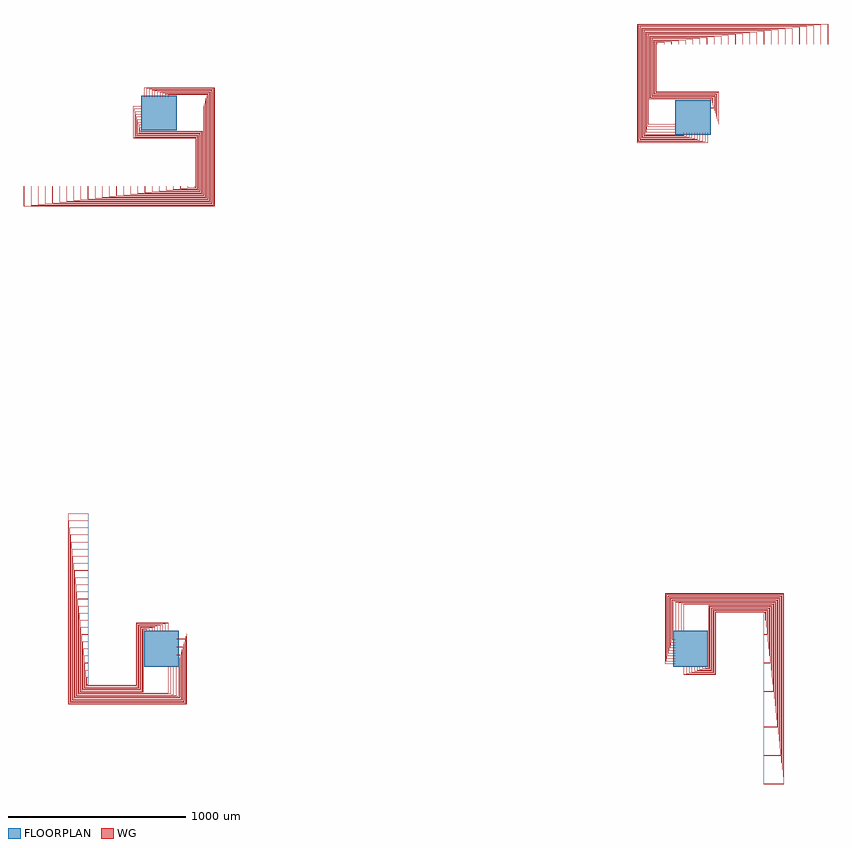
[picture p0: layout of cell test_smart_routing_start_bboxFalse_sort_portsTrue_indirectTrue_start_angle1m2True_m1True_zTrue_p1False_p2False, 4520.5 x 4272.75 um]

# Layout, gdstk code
import gdstk
lib = gdstk.Library(unit=1e-6, precision=1e-09)
def R(c, l, rs):  # rectangles x0, y0, x1, y1
    for r in rs: c.add(gdstk.rectangle(r[:2], r[2:], *l))
def P(c, l, *ps):  # polygons
    for p in ps: c.add(gdstk.Polygon(p, *l))
WG = (1, 0)
FLOORPLAN = (10, 0)

test_smart_routing_start = lib.new_cell('test_smart_routing_start_bboxFalse_sort_portsTrue_indirectTrue_start_angle1m2True_m1True_zTrue_p1False_p2False')
P(test_smart_routing_start, WG, [(199.75,2595.5),(199.75,2600),(200.25,2600),(200.25,2596),(204.25,2596),(204.25,2869.75),(-145,2869.75),(-145,3050.25),(-100,3050.25),(-100,3049.75),(-144.5,3049.75),(-144.5,2870.25),(204.75,2870.25),(204.75,2595.5)],
  [(159.75,2591),(159.75,2600),(160.25,2600),(160.25,2591.5),(208.75,2591.5),(208.75,2874.25),(-140.5,2874.25),(-140.5,3035.25),(-100,3035.25),(-100,3034.75),(-140,3034.75),(-140,2874.75),(209.25,2874.75),(209.25,2591)],
  [(119.75,2586.5),(119.75,2600),(120.25,2600),(120.25,2587),(213.25,2587),(213.25,2878.75),(-136,2878.75),(-136,3020.25),(-100,3020.25),(-100,3019.75),(-135.5,3019.75),(-135.5,2879.25),(213.75,2879.25),(213.75,2586.5)],
  [(79.75,2582),(79.75,2600),(80.25,2600),(80.25,2582.5),(217.75,2582.5),(217.75,2883.25),(-131.5,2883.25),(-131.5,3005.25),(-100,3005.25),(-100,3004.75),(-131,3004.75),(-131,2883.75),(218.25,2883.75),(218.25,2582)],
  [(39.75,2577.5),(39.75,2600),(40.25,2600),(40.25,2578),(222.25,2578),(222.25,2887.75),(-127,2887.75),(-127,2990.25),(-100,2990.25),(-100,2989.75),(-126.5,2989.75),(-126.5,2888.25),(222.75,2888.25),(222.75,2577.5)],
  [(-0.25,2573),(-0.25,2600),(0.25,2600),(0.25,2573.5),(226.75,2573.5),(226.75,2892.25),(-122.5,2892.25),(-122.5,2975.25),(-100,2975.25),(-100,2974.75),(-122,2974.75),(-122,2892.75),(227.25,2892.75),(227.25,2573)],
  [(-40.25,2568.5),(-40.25,2600),(-39.75,2600),(-39.75,2569),(231.25,2569),(231.25,2896.75),(-118,2896.75),(-118,2960.25),(-100,2960.25),(-100,2959.75),(-117.5,2959.75),(-117.5,2897.25),(231.75,2897.25),(231.75,2568.5)],
  [(-80.25,2564),(-80.25,2600),(-79.75,2600),(-79.75,2564.5),(235.75,2564.5),(235.75,2901.25),(-113.5,2901.25),(-113.5,2945.25),(-100,2945.25),(-100,2944.75),(-113,2944.75),(-113,2901.75),(236.25,2901.75),(236.25,2564)],
  [(-120.25,2559.5),(-120.25,2600),(-119.75,2600),(-119.75,2560),(240.25,2560),(240.25,2905.75),(-109,2905.75),(-109,2930.25),(-100,2930.25),(-100,2929.75),(-108.5,2929.75),(-108.5,2906.25),(240.75,2906.25),(240.75,2559.5)],
  [(-160.25,2555),(-160.25,2600),(-159.75,2600),(-159.75,2555.5),(244.75,2555.5),(244.75,2910.25),(-104.5,2910.25),(-104.5,2915.25),(-100,2915.25),(-100,2914.75),(-104,2914.75),(-104,2910.75),(245.25,2910.75),(245.25,2555)],
  [(-200.25,2550.5),(-200.25,2600),(-199.75,2600),(-199.75,2551),(249.25,2551),(249.25,3049.75),(100,3049.75),(100,3050.25),(249.75,3050.25),(249.75,2550.5)],
  [(-240.25,2546),(-240.25,2600),(-239.75,2600),(-239.75,2546.5),(253.75,2546.5),(253.75,3064.75),(100,3064.75),(100,3065.25),(254.25,3065.25),(254.25,2546)],
  [(-280.25,2541.5),(-280.25,2600),(-279.75,2600),(-279.75,2542),(258.25,2542),(258.25,3079.75),(100,3079.75),(100,3080.25),(258.75,3080.25),(258.75,2541.5)],
  [(-320.25,2537),(-320.25,2600),(-319.75,2600),(-319.75,2537.5),(262.75,2537.5),(262.75,3094.75),(100,3094.75),(100,3095.25),(263.25,3095.25),(263.25,2537)],
  [(-360.25,2532.5),(-360.25,2600),(-359.75,2600),(-359.75,2533),(267.25,2533),(267.25,3109.75),(100,3109.75),(100,3110.25),(267.75,3110.25),(267.75,2532.5)],
  [(-400.25,2528),(-400.25,2600),(-399.75,2600),(-399.75,2528.5),(271.75,2528.5),(271.75,3114.25),(50.25,3114.25),(50.25,3100),(49.75,3100),(49.75,3114.75),(272.25,3114.75),(272.25,2528)],
  [(-440.25,2523.5),(-440.25,2600),(-439.75,2600),(-439.75,2524),(276.25,2524),(276.25,3118.75),(35.25,3118.75),(35.25,3100),(34.75,3100),(34.75,3119.25),(276.75,3119.25),(276.75,2523.5)],
  [(-480.25,2519),(-480.25,2600),(-479.75,2600),(-479.75,2519.5),(280.75,2519.5),(280.75,3123.25),(20.25,3123.25),(20.25,3100),(19.75,3100),(19.75,3123.75),(281.25,3123.75),(281.25,2519)],
  [(-520.25,2514.5),(-520.25,2600),(-519.75,2600),(-519.75,2515),(285.25,2515),(285.25,3127.75),(5.25,3127.75),(5.25,3100),(4.75,3100),(4.75,3128.25),(285.75,3128.25),(285.75,2514.5)],
  [(-560.25,2510),(-560.25,2600),(-559.75,2600),(-559.75,2510.5),(289.75,2510.5),(289.75,3132.25),(-9.75,3132.25),(-9.75,3100),(-10.25,3100),(-10.25,3132.75),(290.25,3132.75),(290.25,2510)],
  [(-600.25,2505.5),(-600.25,2600),(-599.75,2600),(-599.75,2506),(294.25,2506),(294.25,3136.75),(-24.75,3136.75),(-24.75,3100),(-25.25,3100),(-25.25,3137.25),(294.75,3137.25),(294.75,2505.5)],
  [(-640.25,2501),(-640.25,2600),(-639.75,2600),(-639.75,2501.5),(298.75,2501.5),(298.75,3141.25),(-39.75,3141.25),(-39.75,3100),(-40.25,3100),(-40.25,3141.75),(299.25,3141.75),(299.25,2501)],
  [(-680.25,2496.5),(-680.25,2600),(-679.75,2600),(-679.75,2497),(303.25,2497),(303.25,3145.75),(-54.75,3145.75),(-54.75,3100),(-55.25,3100),(-55.25,3146.25),(303.75,3146.25),(303.75,2496.5)],
  [(-720.25,2492),(-720.25,2600),(-719.75,2600),(-719.75,2492.5),(307.75,2492.5),(307.75,3150.25),(-69.75,3150.25),(-69.75,3100),(-70.25,3100),(-70.25,3150.75),(308.25,3150.75),(308.25,2492)],
  [(-760.25,2487.5),(-760.25,2600),(-759.75,2600),(-759.75,2488),(312.25,2488),(312.25,3154.75),(-84.75,3154.75),(-84.75,3100),(-85.25,3100),(-85.25,3155.25),(312.75,3155.25),(312.75,2487.5)],
  [(-404.5,-204.75),(-404.5,-199.75),(-400,-199.75),(-400,-200.25),(-404,-200.25),(-404,-204.25),(-130.25,-204.25),(-130.25,145),(50.25,145),(50.25,100),(49.75,100),(49.75,144.5),(-129.75,144.5),(-129.75,-204.75)],
  [(-409,-209.25),(-409,-159.75),(-400,-159.75),(-400,-160.25),(-408.5,-160.25),(-408.5,-208.75),(-125.75,-208.75),(-125.75,140.5),(35.25,140.5),(35.25,100),(34.75,100),(34.75,140),(-125.25,140),(-125.25,-209.25)],
  [(-413.5,-213.75),(-413.5,-119.75),(-400,-119.75),(-400,-120.25),(-413,-120.25),(-413,-213.25),(-121.25,-213.25),(-121.25,136),(20.25,136),(20.25,100),(19.75,100),(19.75,135.5),(-120.75,135.5),(-120.75,-213.75)],
  [(-418,-218.25),(-418,-79.75),(-400,-79.75),(-400,-80.25),(-417.5,-80.25),(-417.5,-217.75),(-116.75,-217.75),(-116.75,131.5),(5.25,131.5),(5.25,100),(4.75,100),(4.75,131),(-116.25,131),(-116.25,-218.25)],
  [(-422.5,-222.75),(-422.5,-39.75),(-400,-39.75),(-400,-40.25),(-422,-40.25),(-422,-222.25),(-112.25,-222.25),(-112.25,127),(-9.75,127),(-9.75,100),(-10.25,100),(-10.25,126.5),(-111.75,126.5),(-111.75,-222.75)],
  [(-427,-227.25),(-427,0.25),(-400,0.25),(-400,-0.25),(-426.5,-0.25),(-426.5,-226.75),(-107.75,-226.75),(-107.75,122.5),(-24.75,122.5),(-24.75,100),(-25.25,100),(-25.25,122),(-107.25,122),(-107.25,-227.25)],
  [(-431.5,-231.75),(-431.5,40.25),(-400,40.25),(-400,39.75),(-431,39.75),(-431,-231.25),(-103.25,-231.25),(-103.25,118),(-39.75,118),(-39.75,100),(-40.25,100),(-40.25,117.5),(-102.75,117.5),(-102.75,-231.75)],
  [(-436,-236.25),(-436,80.25),(-400,80.25),(-400,79.75),(-435.5,79.75),(-435.5,-235.75),(-98.75,-235.75),(-98.75,113.5),(-54.75,113.5),(-54.75,100),(-55.25,100),(-55.25,113),(-98.25,113),(-98.25,-236.25)],
  [(-440.5,-240.75),(-440.5,120.25),(-400,120.25),(-400,119.75),(-440,119.75),(-440,-240.25),(-94.25,-240.25),(-94.25,109),(-69.75,109),(-69.75,100),(-70.25,100),(-70.25,108.5),(-93.75,108.5),(-93.75,-240.75)],
  [(-445,-245.25),(-445,160.25),(-400,160.25),(-400,159.75),(-444.5,159.75),(-444.5,-244.75),(-89.75,-244.75),(-89.75,104.5),(-84.75,104.5),(-84.75,100),(-85.25,100),(-85.25,104),(-89.25,104),(-89.25,-245.25)],
  [(-449.5,-249.75),(-449.5,200.25),(-400,200.25),(-400,199.75),(-449,199.75),(-449,-249.25),(49.75,-249.25),(49.75,-100),(50.25,-100),(50.25,-249.75)],
  [(-454,-254.25),(-454,240.25),(-400,240.25),(-400,239.75),(-453.5,239.75),(-453.5,-253.75),(64.75,-253.75),(64.75,-100),(65.25,-100),(65.25,-254.25)],
  [(-458.5,-258.75),(-458.5,280.25),(-400,280.25),(-400,279.75),(-458,279.75),(-458,-258.25),(79.75,-258.25),(79.75,-100),(80.25,-100),(80.25,-258.75)],
  [(-463,-263.25),(-463,320.25),(-400,320.25),(-400,319.75),(-462.5,319.75),(-462.5,-262.75),(94.75,-262.75),(94.75,-100),(95.25,-100),(95.25,-263.25)],
  [(-467.5,-267.75),(-467.5,360.25),(-400,360.25),(-400,359.75),(-467,359.75),(-467,-267.25),(109.75,-267.25),(109.75,-100),(110.25,-100),(110.25,-267.75)],
  [(-472,-272.25),(-472,400.25),(-400,400.25),(-400,399.75),(-471.5,399.75),(-471.5,-271.75),(114.25,-271.75),(114.25,-50.25),(100,-50.25),(100,-49.75),(114.75,-49.75),(114.75,-272.25)],
  [(-476.5,-276.75),(-476.5,440.25),(-400,440.25),(-400,439.75),(-476,439.75),(-476,-276.25),(118.75,-276.25),(118.75,-35.25),(100,-35.25),(100,-34.75),(119.25,-34.75),(119.25,-276.75)],
  [(-481,-281.25),(-481,480.25),(-400,480.25),(-400,479.75),(-480.5,479.75),(-480.5,-280.75),(123.25,-280.75),(123.25,-20.25),(100,-20.25),(100,-19.75),(123.75,-19.75),(123.75,-281.25)],
  [(-485.5,-285.75),(-485.5,520.25),(-400,520.25),(-400,519.75),(-485,519.75),(-485,-285.25),(127.75,-285.25),(127.75,-5.25),(100,-5.25),(100,-4.75),(128.25,-4.75),(128.25,-285.75)],
  [(-490,-290.25),(-490,560.25),(-400,560.25),(-400,559.75),(-489.5,559.75),(-489.5,-289.75),(132.25,-289.75),(132.25,9.75),(100,9.75),(100,10.25),(132.75,10.25),(132.75,-290.25)],
  [(-494.5,-294.75),(-494.5,600.25),(-400,600.25),(-400,599.75),(-494,599.75),(-494,-294.25),(136.75,-294.25),(136.75,24.75),(100,24.75),(100,25.25),(137.25,25.25),(137.25,-294.75)],
  [(-499,-299.25),(-499,640.25),(-400,640.25),(-400,639.75),(-498.5,639.75),(-498.5,-298.75),(141.25,-298.75),(141.25,39.75),(100,39.75),(100,40.25),(141.75,40.25),(141.75,-299.25)],
  [(-503.5,-303.75),(-503.5,680.25),(-400,680.25),(-400,679.75),(-503,679.75),(-503,-303.25),(145.75,-303.25),(145.75,54.75),(100,54.75),(100,55.25),(146.25,55.25),(146.25,-303.75)],
  [(-508,-308.25),(-508,720.25),(-400,720.25),(-400,719.75),(-507.5,719.75),(-507.5,-307.75),(150.25,-307.75),(150.25,69.75),(100,69.75),(100,70.25),(150.75,70.25),(150.75,-308.25)],
  [(-512.5,-312.75),(-512.5,760.25),(-400,760.25),(-400,759.75),(-512,759.75),(-512,-312.25),(154.75,-312.25),(154.75,84.75),(100,84.75),(100,85.25),(155.25,85.25),(155.25,-312.75)],
  [(2949.75,-145),(2949.75,-100),(2950.25,-100),(2950.25,-144.5),(3129.75,-144.5),(3129.75,204.75),(3404.5,204.75),(3404.5,199.75),(3400,199.75),(3400,200.25),(3404,200.25),(3404,204.25),(3130.25,204.25),(3130.25,-145)],
  [(2964.75,-140.5),(2964.75,-100),(2965.25,-100),(2965.25,-140),(3125.25,-140),(3125.25,209.25),(3409,209.25),(3409,159.75),(3400,159.75),(3400,160.25),(3408.5,160.25),(3408.5,208.75),(3125.75,208.75),(3125.75,-140.5)],
  [(2979.75,-136),(2979.75,-100),(2980.25,-100),(2980.25,-135.5),(3120.75,-135.5),(3120.75,213.75),(3413.5,213.75),(3413.5,119.75),(3400,119.75),(3400,120.25),(3413,120.25),(3413,213.25),(3121.25,213.25),(3121.25,-136)],
  [(2994.75,-131.5),(2994.75,-100),(2995.25,-100),(2995.25,-131),(3116.25,-131),(3116.25,218.25),(3418,218.25),(3418,79.75),(3400,79.75),(3400,80.25),(3417.5,80.25),(3417.5,217.75),(3116.75,217.75),(3116.75,-131.5)],
  [(3009.75,-127),(3009.75,-100),(3010.25,-100),(3010.25,-126.5),(3111.75,-126.5),(3111.75,222.75),(3422.5,222.75),(3422.5,39.75),(3400,39.75),(3400,40.25),(3422,40.25),(3422,222.25),(3112.25,222.25),(3112.25,-127)],
  [(3024.75,-122.5),(3024.75,-100),(3025.25,-100),(3025.25,-122),(3107.25,-122),(3107.25,227.25),(3427,227.25),(3427,-0.25),(3400,-0.25),(3400,0.25),(3426.5,0.25),(3426.5,226.75),(3107.75,226.75),(3107.75,-122.5)],
  [(3039.75,-118),(3039.75,-100),(3040.25,-100),(3040.25,-117.5),(3102.75,-117.5),(3102.75,231.75),(3431.5,231.75),(3431.5,-40.25),(3400,-40.25),(3400,-39.75),(3431,-39.75),(3431,231.25),(3103.25,231.25),(3103.25,-118)],
  [(3054.75,-113.5),(3054.75,-100),(3055.25,-100),(3055.25,-113),(3098.25,-113),(3098.25,236.25),(3436,236.25),(3436,-80.25),(3400,-80.25),(3400,-79.75),(3435.5,-79.75),(3435.5,235.75),(3098.75,235.75),(3098.75,-113.5)],
  [(3400,-120.25),(3400,-119.75),(3440,-119.75),(3440,240.25),(3094.25,240.25),(3094.25,-109),(3069.75,-109),(3069.75,-100),(3070.25,-100),(3070.25,-108.5),(3093.75,-108.5),(3093.75,240.75),(3440.5,240.75),(3440.5,-120.25)],
  [(3400,-160.25),(3400,-159.75),(3444.5,-159.75),(3444.5,244.75),(3089.75,244.75),(3089.75,-104.5),(3084.75,-104.5),(3084.75,-100),(3085.25,-100),(3085.25,-104),(3089.25,-104),(3089.25,245.25),(3445,245.25),(3445,-160.25)],
  [(3400,-200.25),(3400,-199.75),(3449,-199.75),(3449,249.25),(2950.25,249.25),(2950.25,100),(2949.75,100),(2949.75,249.75),(3449.5,249.75),(3449.5,-200.25)],
  [(3400,-240.25),(3400,-239.75),(3453.5,-239.75),(3453.5,253.75),(2935.25,253.75),(2935.25,100),(2934.75,100),(2934.75,254.25),(3454,254.25),(3454,-240.25)],
  [(3400,-280.25),(3400,-279.75),(3458,-279.75),(3458,258.25),(2920.25,258.25),(2920.25,100),(2919.75,100),(2919.75,258.75),(3458.5,258.75),(3458.5,-280.25)],
  [(3400,-320.25),(3400,-319.75),(3462.5,-319.75),(3462.5,262.75),(2905.25,262.75),(2905.25,100),(2904.75,100),(2904.75,263.25),(3463,263.25),(3463,-320.25)],
  [(3400,-360.25),(3400,-359.75),(3467,-359.75),(3467,267.25),(2890.25,267.25),(2890.25,100),(2889.75,100),(2889.75,267.75),(3467.5,267.75),(3467.5,-360.25)],
  [(3400,-400.25),(3400,-399.75),(3471.5,-399.75),(3471.5,271.75),(2885.75,271.75),(2885.75,50.25),(2900,50.25),(2900,49.75),(2885.25,49.75),(2885.25,272.25),(3472,272.25),(3472,-400.25)],
  [(3400,-440.25),(3400,-439.75),(3476,-439.75),(3476,276.25),(2881.25,276.25),(2881.25,35.25),(2900,35.25),(2900,34.75),(2880.75,34.75),(2880.75,276.75),(3476.5,276.75),(3476.5,-440.25)],
  [(3400,-480.25),(3400,-479.75),(3480.5,-479.75),(3480.5,280.75),(2876.75,280.75),(2876.75,20.25),(2900,20.25),(2900,19.75),(2876.25,19.75),(2876.25,281.25),(3481,281.25),(3481,-480.25)],
  [(3400,-520.25),(3400,-519.75),(3485,-519.75),(3485,285.25),(2872.25,285.25),(2872.25,5.25),(2900,5.25),(2900,4.75),(2871.75,4.75),(2871.75,285.75),(3485.5,285.75),(3485.5,-520.25)],
  [(3400,-560.25),(3400,-559.75),(3489.5,-559.75),(3489.5,289.75),(2867.75,289.75),(2867.75,-9.75),(2900,-9.75),(2900,-10.25),(2867.25,-10.25),(2867.25,290.25),(3490,290.25),(3490,-560.25)],
  [(3400,-600.25),(3400,-599.75),(3494,-599.75),(3494,294.25),(2863.25,294.25),(2863.25,-24.75),(2900,-24.75),(2900,-25.25),(2862.75,-25.25),(2862.75,294.75),(3494.5,294.75),(3494.5,-600.25)],
  [(3400,-640.25),(3400,-639.75),(3498.5,-639.75),(3498.5,298.75),(2858.75,298.75),(2858.75,-39.75),(2900,-39.75),(2900,-40.25),(2858.25,-40.25),(2858.25,299.25),(3499,299.25),(3499,-640.25)],
  [(3400,-680.25),(3400,-679.75),(3503,-679.75),(3503,303.25),(2854.25,303.25),(2854.25,-54.75),(2900,-54.75),(2900,-55.25),(2853.75,-55.25),(2853.75,303.75),(3503.5,303.75),(3503.5,-680.25)],
  [(3400,-720.25),(3400,-719.75),(3507.5,-719.75),(3507.5,307.75),(2849.75,307.75),(2849.75,-69.75),(2900,-69.75),(2900,-70.25),(2849.25,-70.25),(2849.25,308.25),(3508,308.25),(3508,-720.25)],
  [(3400,-760.25),(3400,-759.75),(3512,-759.75),(3512,312.25),(2845.25,312.25),(2845.25,-84.75),(2900,-84.75),(2900,-85.25),(2844.75,-85.25),(2844.75,312.75),(3512.5,312.75),(3512.5,-760.25)],
  [(3100,2949.75),(3100,2950.25),(3144.5,2950.25),(3144.5,3129.75),(2795.25,3129.75),(2795.25,3404.5),(2800.25,3404.5),(2800.25,3400),(2799.75,3400),(2799.75,3404),(2795.75,3404),(2795.75,3130.25),(3145,3130.25),(3145,2949.75)],
  [(3100,2964.75),(3100,2965.25),(3140,2965.25),(3140,3125.25),(2790.75,3125.25),(2790.75,3409),(2840.25,3409),(2840.25,3400),(2839.75,3400),(2839.75,3408.5),(2791.25,3408.5),(2791.25,3125.75),(3140.5,3125.75),(3140.5,2964.75)],
  [(3100,2979.75),(3100,2980.25),(3135.5,2980.25),(3135.5,3120.75),(2786.25,3120.75),(2786.25,3413.5),(2880.25,3413.5),(2880.25,3400),(2879.75,3400),(2879.75,3413),(2786.75,3413),(2786.75,3121.25),(3136,3121.25),(3136,2979.75)],
  [(3100,2994.75),(3100,2995.25),(3131,2995.25),(3131,3116.25),(2781.75,3116.25),(2781.75,3418),(2920.25,3418),(2920.25,3400),(2919.75,3400),(2919.75,3417.5),(2782.25,3417.5),(2782.25,3116.75),(3131.5,3116.75),(3131.5,2994.75)],
  [(3100,3009.75),(3100,3010.25),(3126.5,3010.25),(3126.5,3111.75),(2777.25,3111.75),(2777.25,3422.5),(2960.25,3422.5),(2960.25,3400),(2959.75,3400),(2959.75,3422),(2777.75,3422),(2777.75,3112.25),(3127,3112.25),(3127,3009.75)],
  [(3100,3024.75),(3100,3025.25),(3122,3025.25),(3122,3107.25),(2772.75,3107.25),(2772.75,3427),(3000.25,3427),(3000.25,3400),(2999.75,3400),(2999.75,3426.5),(2773.25,3426.5),(2773.25,3107.75),(3122.5,3107.75),(3122.5,3024.75)],
  [(3100,3039.75),(3100,3040.25),(3117.5,3040.25),(3117.5,3102.75),(2768.25,3102.75),(2768.25,3431.5),(3040.25,3431.5),(3040.25,3400),(3039.75,3400),(3039.75,3431),(2768.75,3431),(2768.75,3103.25),(3118,3103.25),(3118,3039.75)],
  [(3100,3054.75),(3100,3055.25),(3113,3055.25),(3113,3098.25),(2763.75,3098.25),(2763.75,3436),(3080.25,3436),(3080.25,3400),(3079.75,3400),(3079.75,3435.5),(2764.25,3435.5),(2764.25,3098.75),(3113.5,3098.75),(3113.5,3054.75)],
  [(3100,3069.75),(3100,3070.25),(3108.5,3070.25),(3108.5,3093.75),(2759.25,3093.75),(2759.25,3440.5),(3120.25,3440.5),(3120.25,3400),(3119.75,3400),(3119.75,3440),(2759.75,3440),(2759.75,3094.25),(3109,3094.25),(3109,3069.75)],
  [(3100,3084.75),(3100,3085.25),(3104,3085.25),(3104,3089.25),(2754.75,3089.25),(2754.75,3445),(3160.25,3445),(3160.25,3400),(3159.75,3400),(3159.75,3444.5),(2755.25,3444.5),(2755.25,3089.75),(3104.5,3089.75),(3104.5,3084.75)],
  [(2750.25,2949.75),(2750.25,3449.5),(3200.25,3449.5),(3200.25,3400),(3199.75,3400),(3199.75,3449),(2750.75,3449),(2750.75,2950.25),(2900,2950.25),(2900,2949.75)],
  [(2745.75,2934.75),(2745.75,3454),(3240.25,3454),(3240.25,3400),(3239.75,3400),(3239.75,3453.5),(2746.25,3453.5),(2746.25,2935.25),(2900,2935.25),(2900,2934.75)],
  [(2741.25,2919.75),(2741.25,3458.5),(3280.25,3458.5),(3280.25,3400),(3279.75,3400),(3279.75,3458),(2741.75,3458),(2741.75,2920.25),(2900,2920.25),(2900,2919.75)],
  [(2736.75,2904.75),(2736.75,3463),(3320.25,3463),(3320.25,3400),(3319.75,3400),(3319.75,3462.5),(2737.25,3462.5),(2737.25,2905.25),(2900,2905.25),(2900,2904.75)],
  [(2732.25,2889.75),(2732.25,3467.5),(3360.25,3467.5),(3360.25,3400),(3359.75,3400),(3359.75,3467),(2732.75,3467),(2732.75,2890.25),(2900,2890.25),(2900,2889.75)],
  [(2727.75,2885.25),(2727.75,3472),(3400.25,3472),(3400.25,3400),(3399.75,3400),(3399.75,3471.5),(2728.25,3471.5),(2728.25,2885.75),(2949.75,2885.75),(2949.75,2900),(2950.25,2900),(2950.25,2885.25)],
  [(2723.25,2880.75),(2723.25,3476.5),(3440.25,3476.5),(3440.25,3400),(3439.75,3400),(3439.75,3476),(2723.75,3476),(2723.75,2881.25),(2964.75,2881.25),(2964.75,2900),(2965.25,2900),(2965.25,2880.75)],
  [(2718.75,2876.25),(2718.75,3481),(3480.25,3481),(3480.25,3400),(3479.75,3400),(3479.75,3480.5),(2719.25,3480.5),(2719.25,2876.75),(2979.75,2876.75),(2979.75,2900),(2980.25,2900),(2980.25,2876.25)],
  [(2714.25,2871.75),(2714.25,3485.5),(3520.25,3485.5),(3520.25,3400),(3519.75,3400),(3519.75,3485),(2714.75,3485),(2714.75,2872.25),(2994.75,2872.25),(2994.75,2900),(2995.25,2900),(2995.25,2871.75)],
  [(2709.75,2867.25),(2709.75,3490),(3560.25,3490),(3560.25,3400),(3559.75,3400),(3559.75,3489.5),(2710.25,3489.5),(2710.25,2867.75),(3009.75,2867.75),(3009.75,2900),(3010.25,2900),(3010.25,2867.25)],
  [(2705.25,2862.75),(2705.25,3494.5),(3600.25,3494.5),(3600.25,3400),(3599.75,3400),(3599.75,3494),(2705.75,3494),(2705.75,2863.25),(3024.75,2863.25),(3024.75,2900),(3025.25,2900),(3025.25,2862.75)],
  [(2700.75,2858.25),(2700.75,3499),(3640.25,3499),(3640.25,3400),(3639.75,3400),(3639.75,3498.5),(2701.25,3498.5),(2701.25,2858.75),(3039.75,2858.75),(3039.75,2900),(3040.25,2900),(3040.25,2858.25)],
  [(2696.25,2853.75),(2696.25,3503.5),(3680.25,3503.5),(3680.25,3400),(3679.75,3400),(3679.75,3503),(2696.75,3503),(2696.75,2854.25),(3054.75,2854.25),(3054.75,2900),(3055.25,2900),(3055.25,2853.75)],
  [(2691.75,2849.25),(2691.75,3508),(3720.25,3508),(3720.25,3400),(3719.75,3400),(3719.75,3507.5),(2692.25,3507.5),(2692.25,2849.75),(3069.75,2849.75),(3069.75,2900),(3070.25,2900),(3070.25,2849.25)],
  [(2687.25,2844.75),(2687.25,3512.5),(3760.25,3512.5),(3760.25,3400),(3759.75,3400),(3759.75,3512),(2687.75,3512),(2687.75,2845.25),(3084.75,2845.25),(3084.75,2900),(3085.25,2900),(3085.25,2844.75)])
R(test_smart_routing_start, FLOORPLAN, [(-85,-100,110,100), (2890,-100,3085,100), (2900,2890,3100,3085), (-100,2915,100,3110)])
P(test_smart_routing_start, FLOORPLAN, [(-400,-200),(-400,760),(-400,760),(-400,-200)],
  [(-760,2600),(-760,2600),(200,2600),(200,2600)],
  [(3400,-760),(3400,200),(3400,200),(3400,-760)],
  [(2800,3400),(2800,3400),(3760,3400),(3760,3400)])

lib.write_gds('test_smart_routing_start_bboxFalse_sort_portsTrue_indirectTrue_start_angle1m2True_m1True_zTrue_p1False_p2False.gds')
